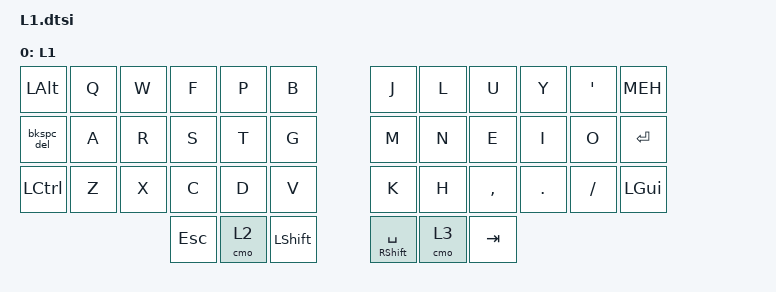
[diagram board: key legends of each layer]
/**
 * Alpha Layer - Colemak-DH
 */

/ {
  keymap {
    compatible = "zmk,keymap";

    layer_1 {
      label = "L1";
      bindings = <
// ╭───────────────┬───────────────┬───────────────┬───────────────┬───────────────┬───────────────╮   ╭───────────────┬───────────────┬───────────────┬───────────────┬───────────────┬───────────────╮
//  0               1               2               3               4               5                   6               7               8               9               10              11
    &kp LALT        &kp Q           &kp W           &kp F           &kp P           &kp B               &kp J           &kp L           &kp U           &kp Y           &kp SQT         &kp MEH
// ├───────────────├───────────────┼───────────────┼───────────────┼───────────────┼───────────────┤   ├───────────────├───────────────┼───────────────┼───────────────┼───────────────┼───────────────┤
//  12              13              14              15              16              17                  18              19              20              21              22              23
    &bkspc_del      &kp A           &kp R           &kp S           &kp T           &kp G               &kp M           &kp N           &kp E           &kp I           &kp O           &kp ENTER
// ├───────────────├───────────────┼───────────────┼───────────────┼───────────────┼───────────────┤   ├───────────────├───────────────┼───────────────┼───────────────┼───────────────┼───────────────┤
//  24              25              26              27              28              29                  30              31              32              33              34              35
    &kp LCTRL       &kp Z           &kp X           &kp C           &kp D           &kp V               &kp K           &kp H           &kp COMMA       &kp DOT         &kp SLASH       &kp LGUI
// ╰───────────────┴───────────────┴───────────────┼───────────────┼───────────────┼───────────────┤   ├───────────────├───────────────┼───────────────┼───────────────┴───────────────┴───────────────╯
//                                                  36              37              38                  39              40              41
                                                    &kp ESC         &cmo L2         &kp LSHFT           &mt RSHFT SPACE &cmo L3         &kp TAB
//                                                 ╰───────────────┴───────────────┴───────────────╯   ╰───────────────┴───────────────┴───────────────╯
      >;
    };
  };
};
